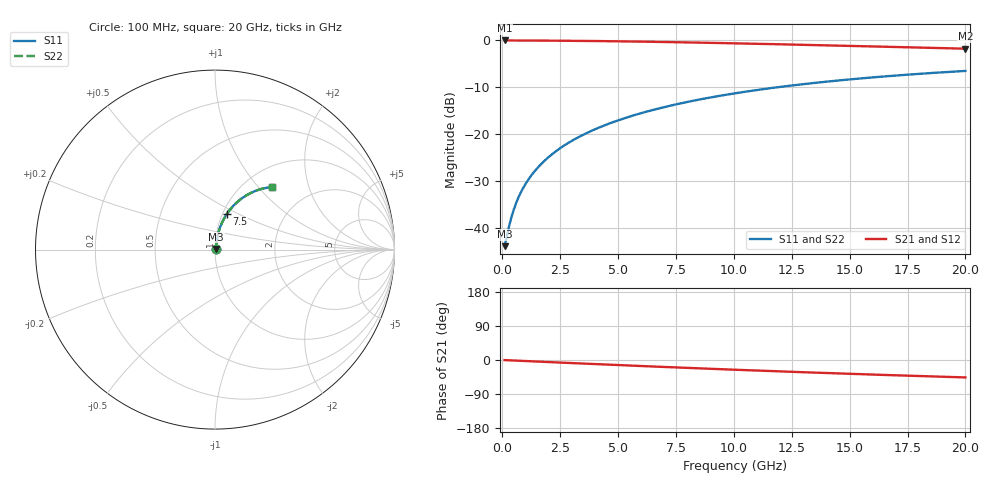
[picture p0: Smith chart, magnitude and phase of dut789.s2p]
! Touchstone file exported from HFSS 2024.1.0
!  File:  C:/UserFiles/LocalFiles/RDL_TSV_Batchsim/temp_RDL_top_789_1779853286.aedt
!  Generated:  11:43:49 AM May 27, 2026
!  Design:  RDL_top
!  Project:  temp_RDL_top_789_1779853286
!  Setup:  Setup1
!  Solution:  Sweep
! Variables:
!  dtsv = 10.80580581um
!  hbump = 3um
!  htsv = 86.12um
!  ldown = 100um
!  lrdl = 638.72um
!  p = 40
!  p1 = 41.77um
!  rhole = 1um
!  t = 450um
!  tdown = 3.915915916um
!  trdl = 3.04um
!  wdown = 15.38538539um
!  wrdl = 13.1um
# GHz S MA R 50.000000
! Terminal data exported
! Port[1] = Box2_T1
! Port[2] = Box2_T2
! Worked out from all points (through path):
!   200 points, 100 MHz to 20 GHz, reference 50 ohm
!   highest |S21| = -0.05 dB at 100 MHz (marker M1); lowest = -1.8 dB at 20 GHz (marker M2)
!   group delay of S21, straight-line fit = 6.39 ps
!   lowest |S11| = -43.8 dB at 100 MHz (marker M3), VSWR 1.01, Z = 50.6 + j0.302 ohm
!   |S11| at or under -10 dB: start of sweep to 11.88 GHz
!   |S22| runs from -43.8 to -6.5 dB; largest |S21 - S12| = 2.4e-15
!   S11 on the Smith chart (normalised r, x): 100 MHz: 1.01, +0.01; 7.5 GHz: 1.05, +0.43; 20 GHz: 1.32, +1.19
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0.1  0.006478 27.5  0.9943 -0.3  0.9943 -0.3  0.006478 27.5
! Gamma 0 0 0 0
! Port Impedance 50 0 50 0
0.3  0.01073 55.9  0.994 -0.8  0.994 -0.8  0.01073 55.9
0.4  0.01331 62.2  0.9938 -1.1  0.9938 -1.1  0.01331 62.2
0.5  0.01598 66.3  0.9936 -1.4  0.9936 -1.4  0.01598 66.3
0.6  0.01868 69.1  0.9934 -1.7  0.9934 -1.7  0.01868 69.1
0.7  0.02139 71.2  0.9932 -1.9  0.9932 -1.9  0.02139 71.2
0.9  0.02686 74.0  0.9928 -2.5  0.9928 -2.5  0.02686 74.0
1.2  0.03511 76.5  0.9921 -3.3  0.9921 -3.3  0.03511 76.5
1.4  0.04064 77.5  0.9917 -3.8  0.9917 -3.8  0.04064 77.5
1.7  0.04896 78.4  0.9908 -4.6  0.9908 -4.6  0.04896 78.4
2.2  0.06289 79.0  0.9892 -6.0  0.9892 -6.0  0.06289 79.0
2.8  0.07963 79.0  0.9868 -7.6  0.9868 -7.6  0.07963 79.0
3.5  0.09914 78.4  0.9833 -9.4  0.9833 -9.4  0.09915 78.4
4.2  0.1186 77.5  0.9792 -11.3  0.9792 -11.3  0.1186 77.5
5  0.1407 76.3  0.9738 -13.4  0.9738 -13.4  0.1407 76.3
5.9  0.1652 74.7  0.9669 -15.7  0.9669 -15.7  0.1652 74.7
6.8  0.1894 73.0  0.9592 -17.9  0.9592 -17.9  0.1895 73.1
7.5  0.208 71.7  0.9528 -19.6  0.9528 -19.6  0.208 71.7
10.1  0.274 66.5  0.9263 -25.8  0.9263 -25.8  0.2741 66.5
13.4  0.35 59.9  0.889 -33.1  0.889 -33.1  0.3501 59.9
16.7  0.416 53.5  0.8506 -39.8  0.8506 -39.8  0.4161 53.6
20  0.4719 47.7  0.8129 -46.0  0.8129 -46.0  0.472 47.7
